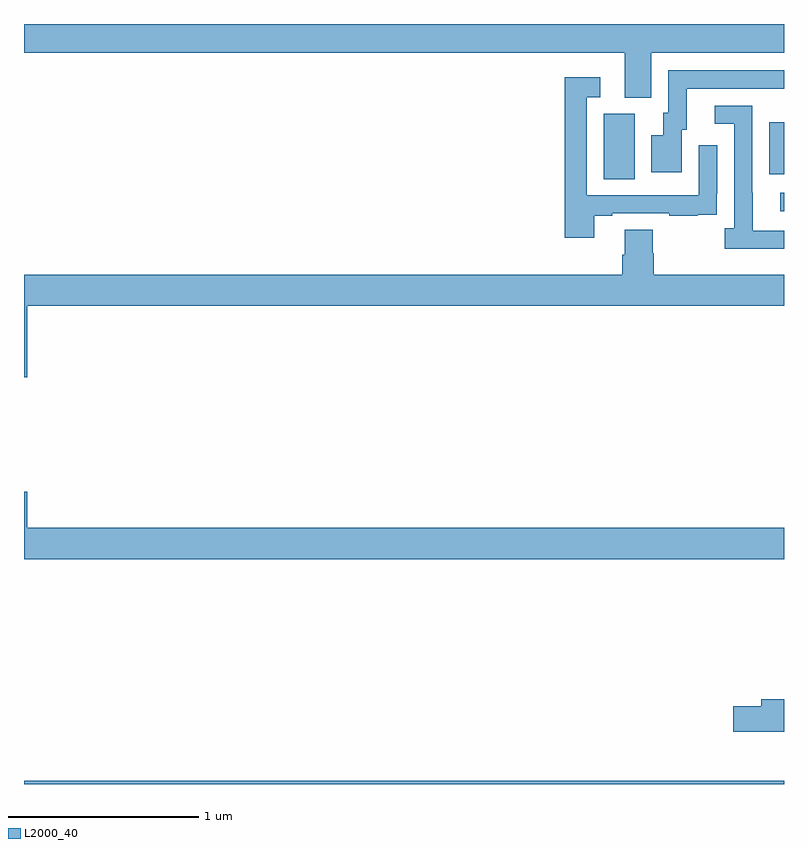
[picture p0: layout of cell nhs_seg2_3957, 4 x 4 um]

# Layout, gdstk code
import gdstk
lib = gdstk.Library(unit=1e-6, precision=1e-09)
def R(c, l, rs):  # rectangles x0, y0, x1, y1
    for r in rs: c.add(gdstk.rectangle(r[:2], r[2:], *l))
def P(c, l, *ps):  # polygons
    for p in ps: c.add(gdstk.Polygon(p, *l))
L2000_40 = (2000, 40)

nhs_seg2_3957 = lib.new_cell('nhs_seg2_3957')
R(nhs_seg2_3957, L2000_40, [(321,631.8,325,631.816), (324.981,634.815,325,634.911), (324.05,634.984,324.214,635.328), (324.923,635.009,325,635.284)])
P(nhs_seg2_3957, L2000_40, [(324.301,635.648),(325,635.648),(325,635.8),(321,635.8),(321,635.648),(324.161,635.648),(324.161,635.413),(324.301,635.413)],
  [(324.463,635.244),(324.487,635.244),(324.487,635.46),(325,635.46),(325,635.556),(324.39,635.556),(324.39,635.334),(324.365,635.334),(324.365,635.215),(324.302,635.215),(324.302,635.019),(324.463,635.019)],
  [(324.001,634.791),(324.097,634.791),(324.097,634.803),(324.397,634.803),(324.397,634.791),(324.545,634.791),(324.545,634.797),(324.647,634.797),(324.647,634.906),(324.648,634.906),(324.648,635.161),(324.552,635.161),(324.552,634.899),(323.961,634.899),(323.961,635.415),(324.034,635.415),(324.034,635.521),(323.845,635.521),(323.845,634.674),(324.001,634.674)],
  [(325,634.713),(324.835,634.713),(324.835,634.913),(324.834,634.913),(324.834,635.37),(324.636,635.37),(324.636,635.274),(324.738,635.274),(324.738,634.726),(324.687,634.726),(324.687,634.616),(325,634.616)],
  [(321.016,634.316),(325,634.316),(325,634.48),(324.314,634.48),(324.314,634.593),(324.309,634.593),(324.309,634.718),(324.161,634.718),(324.161,634.586),(324.149,634.586),(324.149,634.48),(321,634.48),(321,633.942),(321.016,633.942)],
  [(325,633.148),(321.016,633.148),(321.016,633.337),(321,633.337),(321,632.984),(325,632.984)],
  [(325,632.246),(324.881,632.246),(324.881,632.21),(324.732,632.21),(324.732,632.075),(325,632.075)])

lib.write_gds('nhs_seg2_3957.gds')
